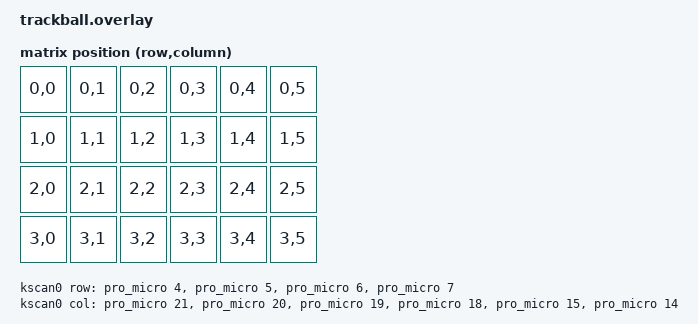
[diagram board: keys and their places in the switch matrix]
/*
 * Copyright (c) 2020 ZMK Contributors
 *
 * SPDX-License-Identifier: MIT
 */

#include <dt-bindings/zmk/matrix_transform.h>

#define INPUT_EV_KEY 0x01               /**< Key event */
#define INPUT_EV_REL 0x02               /**< Relative coordinate event */
#define INPUT_EV_ABS 0x03               /**< Absolute coordinate event */
#define INPUT_EV_MSC 0x04               /**< Miscellaneous event */
#define INPUT_EV_VENDOR_START 0xf0      /**< Vendor specific event start */
#define INPUT_EV_VENDOR_STOP 0xff       /**< Vendor specific event stop */

#define INPUT_REL_X 0x00                /**< Relative X coordinate */
#define INPUT_REL_Y 0x01                /**< Relative Y coordinate */
#define INPUT_REL_WHEEL 0x08            /**< Relative wheel coordinate */
#define INPUT_REL_HWHEEL 0x06           /**< Relative horizontal wheel coordinate */
#define INPUT_REL_MISC 0x09             /**< Relative misc coordinate */

/ {
    chosen {
        zmk,kscan = &kscan0;
        zmk,matrix-transform = &default_transform;
    };

    kscan0: kscan_0 {
        compatible = "zmk,kscan-gpio-matrix";
        diode-direction = "col2row";
        label = "KSCAN";


        col-gpios
            = <&pro_micro 21 GPIO_ACTIVE_HIGH>
            , <&pro_micro 20 GPIO_ACTIVE_HIGH>
            , <&pro_micro 19 GPIO_ACTIVE_HIGH>
            , <&pro_micro 18 GPIO_ACTIVE_HIGH>
            , <&pro_micro 15 GPIO_ACTIVE_HIGH>
            , <&pro_micro 14 GPIO_ACTIVE_HIGH>
            ;

        row-gpios
            = <&pro_micro 4 (GPIO_ACTIVE_HIGH | GPIO_PULL_DOWN)>
            , <&pro_micro 5 (GPIO_ACTIVE_HIGH | GPIO_PULL_DOWN)>
            , <&pro_micro 6 (GPIO_ACTIVE_HIGH | GPIO_PULL_DOWN)>
            , <&pro_micro 7 (GPIO_ACTIVE_HIGH | GPIO_PULL_DOWN)>
            ;
    };

    default_transform: keymap_transform_0 {
        compatible = "zmk,matrix-transform";
        columns = <6>;
        rows = <4>;
        map = <
            RC(0, 0) RC(0, 1) RC(0, 2) RC(0, 3) RC(0, 4) RC(0, 5)
            RC(1, 0) RC(1, 1) RC(1, 2) RC(1, 3) RC(1, 4) RC(1, 5)
            RC(2, 0) RC(2, 1) RC(2, 2) RC(2, 3) RC(2, 4) RC(2, 5)
            RC(3, 0) RC(3, 1) RC(3, 2) RC(3, 3) RC(3, 4) RC(3, 5)
        >;
    };
};

&pinctrl {
    spi0_default: spi0_default {
        group1 {
            psels = <NRF_PSEL(SPIM_SCK, 0, 24)>,
                <NRF_PSEL(SPIM_MOSI, 0, 22)>,
                <NRF_PSEL(SPIM_MISO, 0, 22)>;
        };
    };

    spi0_sleep: spi0_sleep {
        group1 {
            psels = <NRF_PSEL(SPIM_SCK, 0, 24)>,
                <NRF_PSEL(SPIM_MOSI, 0, 22)>,
                <NRF_PSEL(SPIM_MISO, 0, 22)>;
            low-power-enable;
        };
    };
};

&spi0 {
    status = "okay";
    compatible = "nordic,nrf-spim";
    pinctrl-0 = <&spi0_default>;
    pinctrl-1 = <&spi0_sleep>;
    pinctrl-names = "default", "sleep";
    cs-gpios = <&gpio1 0 GPIO_ACTIVE_LOW>;

    trackball: trackball@0 {
        status = "okay";
        compatible = "pixart,pmw3610-alt";
        reg = <0>;
        spi-max-frequency = <2000000>;
        irq-gpios = <&gpio0 11 (GPIO_ACTIVE_LOW | GPIO_PULL_UP)>;
        cpi = <600>;
        // swap-xy; /* optional */
        // invert-x; /* optional */
        // invert-y; /* optional */
        evt-type = <INPUT_EV_REL>;
        x-input-code = <INPUT_REL_X>;
        y-input-code = <INPUT_REL_Y>;

        force-awake;
        /* keep the sensor awake while ZMK activity state is ACTIVE,
           fallback to normal downshift mode after ZMK goes into IDLE / SLEEP mode.
           thus, the sensor would be a `wakeup-source` */

        force-awake-4ms-mode;
        /* while force-awake is acitvated, enable this mode to force sampling per 
           4ms, where the default sampling rate is 8ms. */
        /* NOTE: apply this mode if you need 250Hz with direct USB connection. */
    };
};

/ {
  trackball_listener {
    compatible = "zmk,input-listener";
    device = <&trackball>;
  };
};

